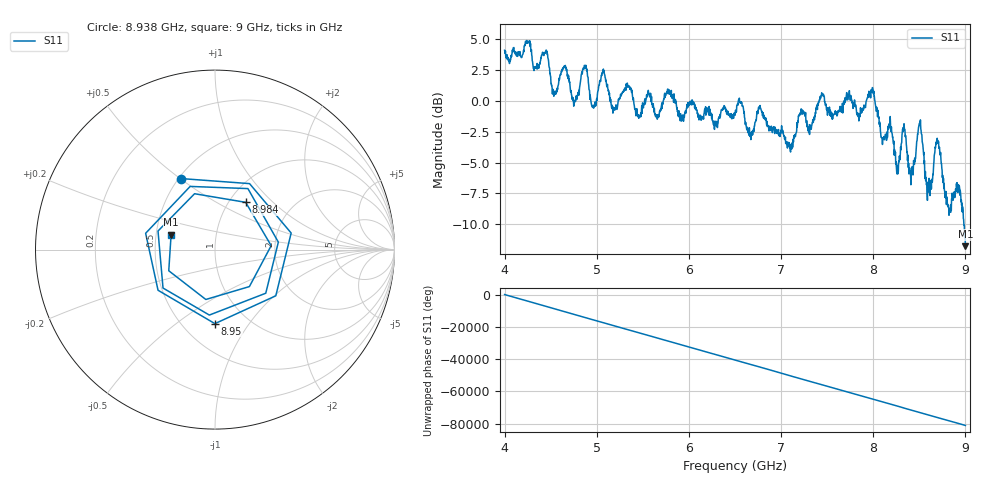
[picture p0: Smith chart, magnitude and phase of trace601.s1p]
! Created with skrf 1.8.0 (http://scikit-rf.org).
# Hz S RI R 50.0
!freq ReS11 ImS11
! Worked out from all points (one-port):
!   1601 points, 4 GHz to 9 GHz, reference 50 ohm
!   lowest |S11| = -11.8 dB at 9 GHz (marker M1), VSWR 1.70, Z = 30 + j5.37 ohm
!   |S11| at or under -10 dB: 8.983593 GHz to end of sweep
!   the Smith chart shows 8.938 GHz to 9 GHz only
!   S11 on the Smith chart (normalised r, x): 8.938 GHz: 0.51, +0.50; 8.95 GHz: 0.71, -0.70; 8.984 GHz: 1.19, +0.70; 9 GHz: 0.60, +0.11
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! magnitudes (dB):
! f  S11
! 4 GHz  4.1
! 4.444 GHz  3.8
! 4.541 GHz  0.7
! 4.625 GHz  2.5
! 4.753 GHz  -0.1
! 4.872 GHz  2.7
! 4.962 GHz  -0.6
! 5.069 GHz  2.5
! 5.178 GHz  -0.5
! 5.25 GHz  0.1
! 5.875 GHz  -0.9
! 6.5 GHz  -1.2
! 7.125 GHz  -3.8
! 7.441 GHz  0.6
! 7.75 GHz  0.0
! 7.991 GHz  1.1
! 8.253 GHz  -5.6
! 8.331 GHz  -2.3
! 8.375 GHz  -4.4
! 8.422 GHz  -5.6
! 8.503 GHz  -1.8
! 8.597 GHz  -7.4
! 8.697 GHz  -3.3
! 8.819 GHz  -8.7
! 8.938 GHz  -7.1
! 8.95 GHz  -7.7
! 8.984 GHz  -10.1
! 9 GHz  -11.8
